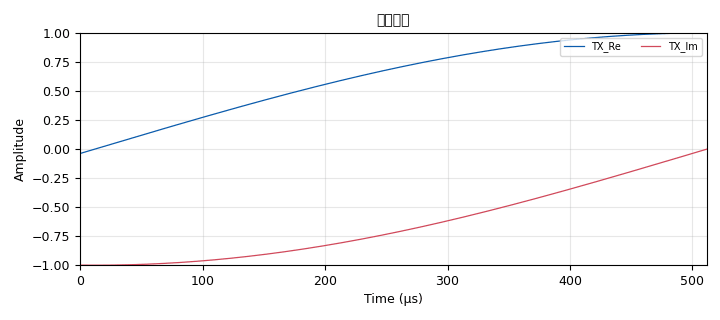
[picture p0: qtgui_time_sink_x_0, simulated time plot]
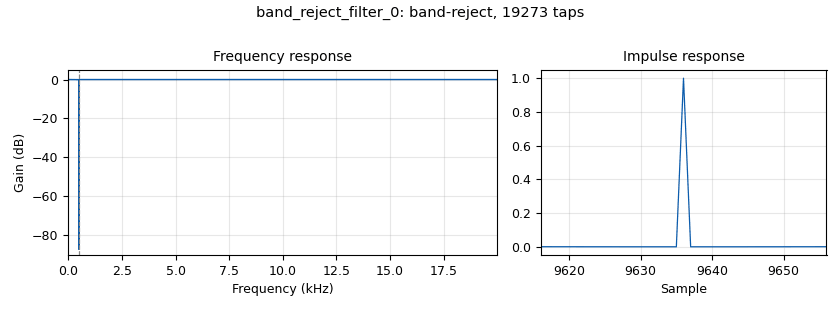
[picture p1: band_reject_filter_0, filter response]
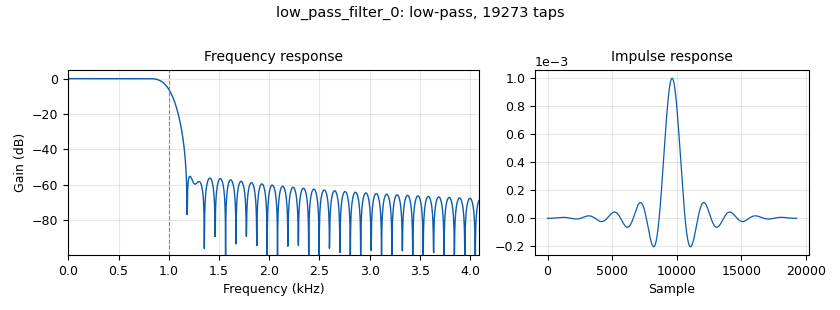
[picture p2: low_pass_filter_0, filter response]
options:
  parameters:
    author: Steven
    comment: |-
      GNU Radio Version:
      3.10.9.2 (Python 3.12.3)
    generate_options: qt_gui
    id: Doppler_radar
    output_language: python
    title: Doppler_radar
  states: {}

blocks:
- name: bw
  id: variable
  parameters:
    value: samp_rate/50
  states: {}
- name: multiply
  id: variable_qtgui_range
  parameters:
    gui_hint: 5,3,1,1
    start: '0'
    step: '1'
    stop: '100'
    value: '1'
  states: {}
- name: rx_gain
  id: variable_qtgui_range
  parameters:
    gui_hint: 3,1
    start: '0'
    step: '1'
    stop: '70'
    value: '30'
  states: {state: disabled}
- name: rx_gain_bb
  id: variable_qtgui_range
  parameters:
    gui_hint: 3,3,1,1
    start: '0'
    step: '2'
    stop: '62'
    value: '36'
  states: {}
- name: rx_gain_if
  id: variable_qtgui_range
  parameters:
    gui_hint: 2,3,1,1
    start: '0'
    step: '8'
    stop: '40'
    value: '24'
  states: {}
- name: samp_rate
  id: variable
  parameters:
    value: '2000000'
  states: {}
- name: tone_freq
  id: variable_qtgui_range
  parameters:
    gui_hint: 4,3,1,1
    start: '-2000'
    step: '1'
    stop: '2000'
    value: '500'
  states: {}
- name: tx_attenuation
  id: variable_qtgui_range
  parameters:
    gui_hint: 2,1
    start: '0'
    step: '0.25'
    stop: '89.75'
    value: '20'
  states: {state: disabled}
- name: tx_attenuation
  id: variable_qtgui_range
  parameters:
    gui_hint: 1,3,1,1
    rangeType: int
    start: '0'
    step: '1'
    stop: '47'
    value: '30'
  states: {}
- name: analog_sig_source_x_0
  id: analog_sig_source_x
  parameters:
    amp: '1'
    comment: tone_freq -2K~2K 控制着 COS 的频率，振幅是 1
    freq: tone_freq
    offset: '0'
    phase: '0'
    samp_rate: samp_rate
    type: complex
    waveform: analog.GR_COS_WAVE
  states: {}
- name: audio_sink_0
  id: audio_sink
  parameters:
    samp_rate: '48000'
  states: {state: disabled}
- name: band_reject_filter_0
  id: band_reject_filter
  parameters:
    comment: |-
      带阻滤波器, 本意是让我们调节 freq_tone, 
      让峰值频率在 500Hz, 然后带阻滤波器将稳定频率滤除。
      但是效果不明显，我们采用手写标定+滤波+数据强化的方法，让效果明显
    decim: '1'
    gain: '1'
    high_cutoff_freq: '505'
    low_cutoff_freq: '495'
    samp_rate: bw
    type: fir_filter_ccf
    width: '5'
    win: window.WIN_HAMMING
  states: {}
- name: blocks_add_const_vxx_0
  id: blocks_add_const_vxx
  parameters:
    const: '-int(8192/2)'
    type: short
  states: {}
- name: blocks_complex_to_mag_squared_0
  id: blocks_complex_to_mag_squared
  parameters:
    comment: |-
      该模块输入一个复数样本，
      然后计算每个样本的平方幅度
      （复数模的平方）。
    vlen: '8192'
  states: {}
- name: blocks_complex_to_real_0
  id: blocks_complex_to_real
  parameters: {}
  states: {state: disabled}
- name: blocks_file_sink_0
  id: blocks_file_sink
  parameters:
    file: save.dat
    type: complex
  states: {state: disabled}
- name: blocks_multiply_const_vxx_0
  id: blocks_multiply_const_vxx
  parameters:
    const: multiply
    type: complex
  states: {}
- name: blocks_multiply_const_vxx_1
  id: blocks_multiply_const_vxx
  parameters:
    comment: bw 带宽/ 8192 个点
    const: bw/8192
    type: float
  states: {}
- name: blocks_multiply_const_vxx_1_0
  id: blocks_multiply_const_vxx
  parameters:
    comment: |-
      .
      .
      .
      .
      # https://gemini.google.com/app/247ce80368c054f8?utm_source=app_launcher&utm_medium=owned&utm_campaign=base_all
      # drtF = f*v/c     (f=2.4GHz, v 相对速度,   c 是光速 (3×10^8 m/s)
      # 本实验，相对速度可能是双倍的，因为信号去程和回程都经历了多普勒频移（如果是反射）。所以更精确地，对于反射信号：drtF = 2f*v/c
      # 因此, v=drtF*c/(2f)=drtF*3.0*10^8/(2*2.4*10^9)=drtF*0.0625
    const: '0.0625'
    type: float
  states: {}
- name: blocks_multiply_const_xx_0
  id: blocks_multiply_const_xx
  parameters:
    comment: |-
      output = input * scalar constant
      采用矢量优化内核库来提升速度
    const: 1/8192
    type: complex
    vlen: '8192'
  states: {}
- name: blocks_nlog10_ff_0
  id: blocks_nlog10_ff
  parameters:
    comment: output = n*log10(input) + k
    k: '0'
    n: '10'
    vlen: '8192'
  states: {}
- name: blocks_short_to_float_0
  id: blocks_short_to_float
  parameters:
    scale: '1'
  states: {}
- name: blocks_stream_to_vector_0
  id: blocks_stream_to_vector
  parameters:
    comment: |-
      Convert a stream of items into 
      a stream of 
      vectors containing Num Items
    num_items: '8192'
    type: complex
  states: {}
- name: epy_block_0
  id: epy_block
  parameters:
    _source_code: |
      """
      Embedded Python Blocks:

      Each time this file is saved, GRC will instantiate the first class it finds
      to get ports and parameters of your block. The arguments to __init__ will
      be the parameters. All of them are required to have default values!
      """

      import numpy as np
      from gnuradio import gr


      class blk(gr.sync_block):
          """
          Embedded Python Block: For each input vector, finds its maximum value
          and the index of the maximum value. Outputs the maximum value (float)
          and the corresponding index (int).
          """

          def __init__(self, input_vector_length = 8192):
              """
              Arguments to this function show up as parameters in GRC.
              input_vector_length: The expected length of each input vector.
              """
              gr.sync_block.__init__(
                  self,
                  name='Vector Max and Index Finder',  # Will show up in GRC
                  in_sig=[(np.float32, input_vector_length)], # Input is a vector of specified length
                  out_sig=[np.float32,                       # Output port 0: Max value (float)
                           np.int16]                         # Output port 1: Index of max value (integer)
              )
              self.input_vector_length = int(input_vector_length)

              # Basic input validation
              if self.input_vector_length <= 0:
                  raise ValueError("input_vector_length must be a positive integer.")

              print(f"Initialized Vector Max and Index Finder. Input Vector Length: {self.input_vector_length}")


          def work(self, input_items, output_items):
              """
              Processes each input vector to find its maximum value and its index.
              
              Args:
                  input_items: A list of input arrays. input_items[0] contains all
                               the input vectors for this work cycle.
                  output_items: A list of output arrays.
                                output_items[0] is for the max values (float).
                                output_items[1] is for the max indices (int).
              
              Returns:
                  The number of input vectors consumed (which is also the number of
                  output samples/vectors produced for each output port in a sync_block).
              """
              
              in_vectors = input_items[0]      # Access the array of input vectors
              out_max_values = output_items[0] # Access the output array for max values
              out_max_indices = output_items[1] # Access the output array for max indices

              # num_vectors_to_process will be the number of input vectors
              # available in this call to work().
              num_vectors_to_process = len(in_vectors)
              
              # Loop through each input vector available in this work cycle
              for i in range(num_vectors_to_process):
                  current_vector = in_vectors[i] # Get the current vector to process

                  # --- Step 1: Find the maximum value in the current vector ---
                  # np.max() directly returns the maximum value.
                  max_value = np.max(current_vector)

                  # --- Step 2: Find the index of the maximum value ---
                  # np.argmax() returns the index of the first occurrence of the maximum value.
                  # If the vector is empty, this would raise an error, but we assume
                  # input_vector_length > 0.
                  max_index = np.argmax(current_vector)

                  # --- Step 3: Assign the maximum value to the first output port ---
                  out_max_values[i] = max_value

                  # --- Step 4: Assign the index to the second output port ---
                  out_max_indices[i] = max_index

                  # Optional: Print for debugging or monitoring
                  # print(f"Processed Vector {i}: Max Value = {max_value:.4f}, Index = {max_index}")

              # For a sync_block, we return the number of input items consumed.
              # This will automatically produce the same number of output items
              # on all connected output ports.
              return num_vectors_to_process
    comment: 寻找频率最大的位置，返回频率强度值和频率下标
    input_vector_length: '8192'
  states: {}
- name: epy_block_1
  id: epy_block
  parameters:
    _source_code: |
      """
      Embedded Python Blocks:

      Each time this file is saved, GRC will instantiate the first class it finds
      to get ports and parameters of your block. The arguments to __init__  will
      be the parameters. All of them are required to have default values!
      """

      import numpy as np
      import pmt
      import time
      from gnuradio import gr



      class blk(gr.sync_block):  # other base classes are basic_block, decim_block, interp_block
          """Embedded Python Block example - a simple multiply const"""

          def __init__(self):  # only default arguments here
              """arguments to this function show up as parameters in GRC"""
              gr.sync_block.__init__(
                  self,
                  name='Freq Offset Cal',   # will show up in GRC
                  in_sig=[np.float32],
                  out_sig=[np.float32]
              )
              # if an attribute with the same name as a parameter is found,
              # a callback is registered (properties work, too).
              self.setting_flag = 0
              self.setting_value = 0
              self.in_port_name = 'set freq'
              self.message_port_register_in(pmt.intern(self.in_port_name))
              self.set_msg_handler(pmt.intern(self.in_port_name), self.handle_msg)
              
              # 新增变量用于存储和维持最大值
              self.max_diff_value = 0.0
              self.last_update_time = time.time()
              
          def handle_msg(self, msg):
              x = pmt.to_python(msg)[1]
              if x == 1:
                  self.setting_flag = 1
          
          def work(self, input_items, output_items):
              """example: multiply with constant"""
              if(self.setting_flag):
              	self.setting_flag = 0
              	self.setting_value = input_items[0][0]
              	print(f"setting value is:{self.setting_value}")
              
              # 1. 计算输入数据与 setting_value 的差值 (可正可负)
              current_diffs = input_items[0] - self.setting_value
              
              # 2. 找到当前数据块中的最大值和最小值
              max_diff = np.max(current_diffs)
              min_diff = np.min(current_diffs)
              
              # 3. 比较这两个值的绝对值 (即幅度)
              #    选取绝对值更大的那个值作为当前的最大差值 (保留其正负号)
              if np.abs(max_diff) >= np.abs(min_diff):
                  current_max_to_keep = max_diff
              else:
                  current_max_to_keep = min_diff
              
              current_time = time.time()
              
              # 4. 更新存储的最大值，同时使用绝对值进行比较
              if (current_time - self.last_update_time >= 3) or (np.abs(current_max_to_keep) > np.abs(self.max_diff_value)):
                  self.max_diff_value = current_max_to_keep
                  self.last_update_time = current_time
                  
              # 5. 输出已维持的带符号的最大差值
              output_items[0][:] = self.max_diff_value if np.abs(self.max_diff_value) > 0.3 else 0
              
              return len(output_items[0])
  states: {}
- name: fft_vxx_0
  id: fft_vxx
  parameters:
    comment: |-
      该块接收浮点数或复数值向量并计算FFT
      请注意，即使输入信号是实数，输出也会是复数，
      因此如果您想查看幅度， 则必须使用Complex to Mag或类似模块
    fft_size: '8192'
    forward: 'True'
    shift: 'True'
    type: complex
    window: window.blackmanharris(8192)
  states: {}
- name: iio_pluto_sink_0
  id: iio_pluto_sink
  parameters:
    attenuation1: tx_attenuation
    bandwidth: '20000000'
    buffer_size: '32768'
    comment: 'tx_attenuation: 控制 TX1 的衰减。范围为 0 至 89.75 dB，步长为 0.25dB。注意：衰减为 0 时输出最大。'
    cyclic: 'False'
    filter_source: '''Auto'''
    frequency: '2400000000'
    samplerate: samp_rate
    type: fc32
    uri: 192.168.101.194
  states: {state: disabled}
- name: iio_pluto_source_0
  id: iio_pluto_source
  parameters:
    bandwidth: '20000000'
    bbdc: 'True'
    buffer_size: '32768'
    comment: 'rx_gain: 增益值，最大为 71 dB，或 4 GHz 中心频率以上时为 62 dB'
    filter_source: '''Auto'''
    frequency: '2400000000'
    gain1: '''manual'''
    manual_gain1: rx_gain
    quadrature: 'True'
    rfdc: 'True'
    samplerate: samp_rate
    type: fc32
    uri: 192.168.101.194
  states: {state: disabled}
- name: low_pass_filter_0
  id: low_pass_filter
  parameters:
    cutoff_freq: '1000'
    decim: '50'
    gain: '1'
    samp_rate: samp_rate
    type: fir_filter_ccf
    width: '250'
    win: window.WIN_HAMMING
  states: {}
- name: note_0
  id: note
  parameters:
    comment: |-
      y,x,y_l,x_l

      "接收信号S" | "RX_AFT_LPF" | "RX_AFT_BPF"   |  tx_attenuation(1,3,1,1)
      1,0,3,1        | 1,1,3,1             | 1,2,3,1               |  rx_gain_if(2,3,1,1)
                         |                         |                           |  rx_gain_bb(3,3,1,1)
      "接收信号F" | "RX_AFT_LPF" | "RX_AFT_BPF"   |    tone_freq(4,3,3,1)
      4,0,3,1        | 4,1,3,1             | 4,2,3,1               |   multiply(5,3,3,1)
                         |                         |                           |   "设定稳定频偏"(6,3,1,1) 
      "发送信号S" | "带通后瀑流"     | "计算的频谱"      | "强度"(7,3,3,1)
      7,0,3,1        | 7,1,3,1             | 7,2,3,1               | "频移"(8,3,3,1)
                                                                               | "速度"(9,3,3,1)
    note: GUI POS
  states: {}
- name: osmosdr_sink_0
  id: osmosdr_sink
  parameters:
    args: '"hackrf=0"'
    bb_gain0: '0'
    comment: 'tx_attenuation: 控制 TX1 的衰减。范围为 0 至 89.75 dB，步长为 0.25dB。注意：衰减为 0 时输出最大。'
    freq0: '2400000000'
    gain0: '0'
    if_gain0: tx_attenuation
    sample_rate: samp_rate
    sync: none
    type: fc32
  states: {}
- name: osmosdr_source_0
  id: osmosdr_source
  parameters:
    args: '"hackrf=1"'
    bb_gain0: rx_gain_bb
    freq0: '2400000000'
    gain0: '0'
    gain_mode0: 'False'
    if_gain0: rx_gain_if
    sample_rate: samp_rate
    sync: none
    type: fc32
  states: {}
- name: qtgui_freq_sink_x_0
  id: qtgui_freq_sink_x
  parameters:
    bw: samp_rate
    fc: '0'
    fftsize: 1024*8
    gui_hint: '4,0,3,1 '
    label1: RX
    name: '"接收信号"'
    type: complex
  states: {}
- name: qtgui_freq_sink_x_1
  id: qtgui_freq_sink_x
  parameters:
    bw: bw
    fc: '0'
    fftsize: 1024*8
    gui_hint: 4,1,3,1
    label1: LPF
    name: '"RX_AFT_LPF"'
    type: complex
  states: {}
- name: qtgui_freq_sink_x_2
  id: qtgui_freq_sink_x
  parameters:
    bw: bw
    fc: '0'
    fftsize: 1024*8
    gui_hint: '4,2,3,1  '
    label1: BSF
    name: '"RX_AFT_BRF"'
    type: complex
  states: {}
- name: qtgui_number_sink_0
  id: qtgui_number_sink
  parameters:
    graph_type: qtgui.NUM_GRAPH_HORIZ
    gui_hint: 7,3,1,1
    max: '0'
    min: '-200'
    name: '"强度"'
    type: float
    unit1: '"DB"'
    update_time: '0.010'
  states: {}
- name: qtgui_number_sink_0_0
  id: qtgui_number_sink
  parameters:
    graph_type: qtgui.NUM_GRAPH_HORIZ
    gui_hint: 8,3,1,1
    max: '8192'
    min: '0'
    name: '"频移"'
    type: float
    unit1: '"Hz"'
    update_time: '0.010'
  states: {}
- name: qtgui_number_sink_0_0_0
  id: qtgui_number_sink
  parameters:
    graph_type: qtgui.NUM_GRAPH_HORIZ
    gui_hint: 9,3,1,1
    max: '10'
    min: '0'
    name: '"速度"'
    type: float
    unit1: '"M/S"'
    update_time: '0.010'
  states: {}
- name: qtgui_time_sink_x_0
  id: qtgui_time_sink_x
  parameters:
    gui_hint: '7,0,3,1 '
    label1: TX_Re
    label2: TX_Im
    name: '"发送信号"'
    size: '1024'
    srate: samp_rate
    type: complex
  states: {}
- name: qtgui_time_sink_x_1
  id: qtgui_time_sink_x
  parameters:
    gui_hint: '1,0,3,1 '
    label1: RX_Re
    label2: RX_Im
    name: '"接收信号"'
    size: 1024*8
    srate: samp_rate
    type: complex
  states: {}
- name: qtgui_time_sink_x_2
  id: qtgui_time_sink_x
  parameters:
    gui_hint: 1,1,3,1
    name: '"RX_AFT_LPF"'
    size: 1024*8
    srate: bw
    type: complex
  states: {}
- name: qtgui_time_sink_x_3
  id: qtgui_time_sink_x
  parameters:
    color1: cyan
    gui_hint: '1,2,3,1  '
    label1: BSF_Re
    label2: BSF_Im
    marker1: '6'
    name: '"RX_AFT_BRF"'
    size: 1024*8
    srate: bw
    type: complex
  states: {}
- name: qtgui_vector_sink_f_0
  id: qtgui_vector_sink_f
  parameters:
    gui_hint: 7,2,3,1
    label1: '"接收"'
    name: '"计算的频谱"'
    vlen: '8192'
    x_start: '0'
    x_step: '1.0'
    y_axis_label: '"相对增益(db)"'
  states: {}
- name: qtgui_waterfall_sink_x_0
  id: qtgui_waterfall_sink_x
  parameters:
    bw: bw
    fc: '1000'
    fftsize: '16384'
    gui_hint: '7,1,3,1 '
    name: '"带通后瀑流"'
    type: complex
  states: {}
- name: set_stable_offset_freq_push_button
  id: variable_qtgui_msg_push_button
  parameters:
    gui_hint: 6,3,1,1
    label: '"设定稳定频偏"'
    msgName: push
    relBackgroundColor: silver
    type: int
    value: '1'
  states: {}

connections:
- [analog_sig_source_x_0, '0', iio_pluto_sink_0, '0']
- [analog_sig_source_x_0, '0', osmosdr_sink_0, '0']
- [analog_sig_source_x_0, '0', qtgui_time_sink_x_0, '0']
- [band_reject_filter_0, '0', blocks_multiply_const_vxx_0, '0']
- [blocks_add_const_vxx_0, '0', blocks_short_to_float_0, '0']
- [blocks_complex_to_mag_squared_0, '0', blocks_nlog10_ff_0, '0']
- [blocks_complex_to_real_0, '0', audio_sink_0, '0']
- [blocks_multiply_const_vxx_0, '0', blocks_complex_to_real_0, '0']
- [blocks_multiply_const_vxx_0, '0', blocks_file_sink_0, '0']
- [blocks_multiply_const_vxx_0, '0', blocks_stream_to_vector_0, '0']
- [blocks_multiply_const_vxx_0, '0', qtgui_freq_sink_x_2, '0']
- [blocks_multiply_const_vxx_0, '0', qtgui_time_sink_x_3, '0']
- [blocks_multiply_const_vxx_0, '0', qtgui_waterfall_sink_x_0, '0']
- [blocks_multiply_const_vxx_1, '0', epy_block_1, '0']
- [blocks_multiply_const_vxx_1, '0', qtgui_number_sink_0_0, '0']
- [blocks_multiply_const_vxx_1_0, '0', qtgui_number_sink_0_0_0, '0']
- [blocks_multiply_const_xx_0, '0', blocks_complex_to_mag_squared_0, '0']
- [blocks_nlog10_ff_0, '0', epy_block_0, '0']
- [blocks_nlog10_ff_0, '0', qtgui_vector_sink_f_0, '0']
- [blocks_short_to_float_0, '0', blocks_multiply_const_vxx_1, '0']
- [blocks_stream_to_vector_0, '0', fft_vxx_0, '0']
- [epy_block_0, '0', qtgui_number_sink_0, '0']
- [epy_block_0, '1', blocks_add_const_vxx_0, '0']
- [epy_block_1, '0', blocks_multiply_const_vxx_1_0, '0']
- [fft_vxx_0, '0', blocks_multiply_const_xx_0, '0']
- [iio_pluto_source_0, '0', low_pass_filter_0, '0']
- [iio_pluto_source_0, '0', qtgui_freq_sink_x_0, '0']
- [iio_pluto_source_0, '0', qtgui_time_sink_x_1, '0']
- [low_pass_filter_0, '0', band_reject_filter_0, '0']
- [low_pass_filter_0, '0', qtgui_freq_sink_x_1, '0']
- [low_pass_filter_0, '0', qtgui_time_sink_x_2, '0']
- [osmosdr_source_0, '0', low_pass_filter_0, '0']
- [osmosdr_source_0, '0', qtgui_freq_sink_x_0, '0']
- [osmosdr_source_0, '0', qtgui_time_sink_x_1, '0']
- [set_stable_offset_freq_push_button, pressed, epy_block_1, set freq]

metadata:
  file_format: 1
  grc_version: 3.10.9.2
